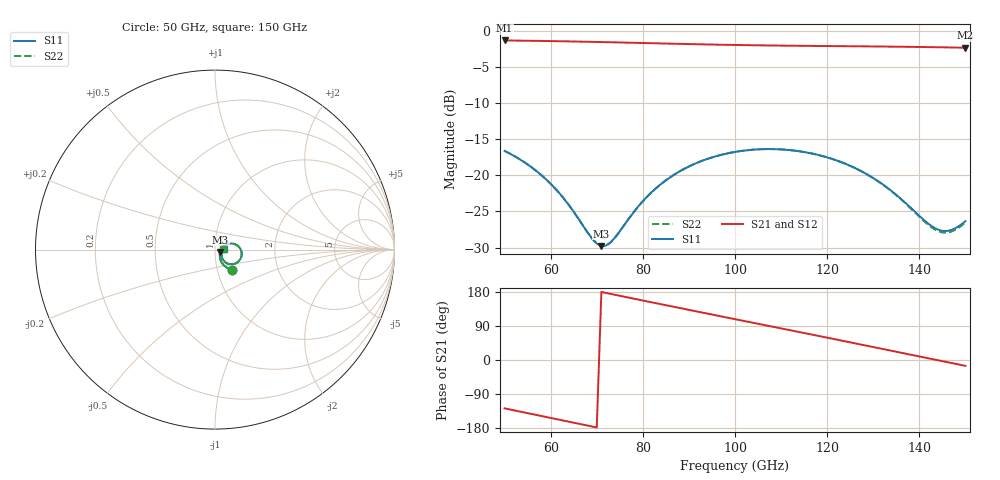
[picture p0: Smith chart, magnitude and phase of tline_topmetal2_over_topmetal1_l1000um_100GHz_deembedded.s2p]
! Created with skrf 2.2.0 (http://scikit-rf.org).
# GHz S DB R 50.0
! Port[1] = P1
! Port[2] = P2
!freq dBS11 angS11 dBS21 angS21 dBS12 angS12 dBS22 angS22
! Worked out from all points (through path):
!   101 points, 50 GHz to 150 GHz, reference 50 ohm
!   highest |S21| = -1.37 dB at 50 GHz (marker M1); lowest = -2.4 dB at 150 GHz (marker M2)
!   group delay of S21, straight-line fit = 6.86 ps
!   lowest |S11| = -29.8 dB at 71 GHz (marker M3), VSWR 1.07, Z = 53.1 - j1.32 ohm
!   |S11| at or under -10 dB: start of sweep to end of sweep
!   |S22| runs from -29.8 to -16.4 dB; largest |S21 - S12| = 1.5e-12
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50  -16.64 -49.2  -1.37 -127.7  -1.37 -127.7  -16.64 -49.4
55  -18.51 -57.0  -1.41 -140.3  -1.41 -140.3  -18.51 -57.3
59  -20.57 -61.4  -1.45 -150.3  -1.45 -150.3  -20.57 -61.7
63  -23.34 -62.1  -1.49 -160.4  -1.49 -160.4  -23.34 -62.4
67  -26.94 -53.3  -1.54 -170.5  -1.54 -170.5  -26.96 -53.6
69  -28.76 -41.2  -1.56 -175.5  -1.56 -175.5  -28.78 -41.5
71  -29.78 -22.6  -1.59 179.5  -1.59 179.5  -29.80 -22.8
73  -29.29 -2.8  -1.62 174.4  -1.62 174.4  -29.31 -3.0
79  -24.33 22.5  -1.71 159.5  -1.71 159.5  -24.33 22.3
84  -21.19 22.3  -1.78 147.1  -1.78 147.1  -21.18 22.0
88  -19.46 18.0  -1.84 137.2  -1.84 137.2  -19.45 17.7
92  -18.22 12.2  -1.89 127.4  -1.89 127.4  -18.21 11.8
100  -16.78 -1.3  -1.99 107.8  -1.99 107.8  -16.77 -1.8
108  -16.39 -15.6  -2.06 88.3  -2.06 88.3  -16.38 -16.2
112  -16.53 -22.8  -2.09 78.5  -2.09 78.5  -16.53 -23.4
117  -17.04 -31.5  -2.12 66.3  -2.12 66.3  -17.04 -32.2
126  -18.99 -45.2  -2.17 44.1  -2.17 44.1  -19.00 -46.1
134  -22.19 -51.4  -2.22 24.3  -2.22 24.3  -22.23 -52.6
139  -25.01 -46.8  -2.26 11.9  -2.26 11.9  -25.11 -48.1
144  -27.50 -27.2  -2.31 -0.5  -2.31 -0.5  -27.71 -28.2
147  -27.56 -9.7  -2.34 -8.0  -2.34 -8.0  -27.78 -10.0
150  -26.36 4.3  -2.37 -15.4  -2.37 -15.4  -26.53 4.4
